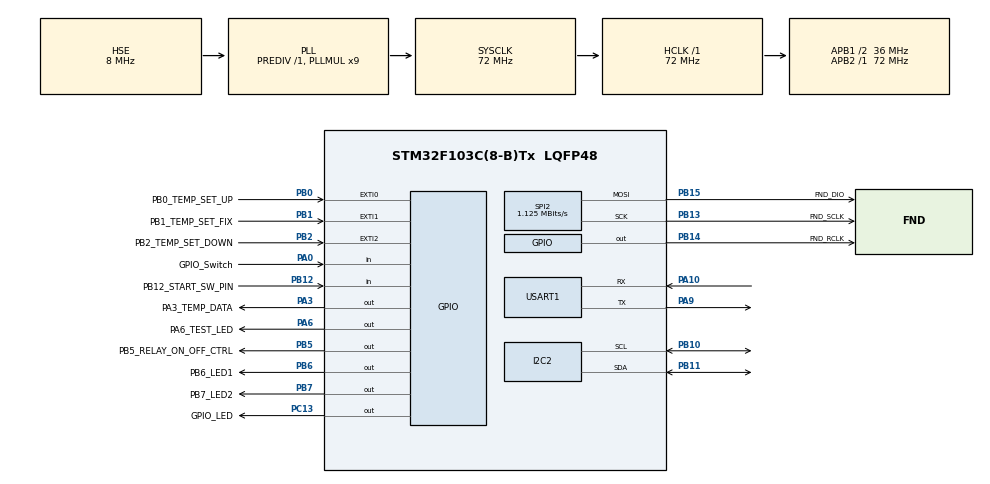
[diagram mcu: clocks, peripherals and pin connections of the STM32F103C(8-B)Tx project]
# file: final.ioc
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I2C2.I2C_Mode=I2C_Fast
Mcu.Family=STM32F1
Mcu.Name=STM32F103C(8-B)Tx
Mcu.Package=LQFP48
NVIC.EXTI0_IRQn=true\:9\:0\:true\:false\:true\:true\:true\:true
NVIC.EXTI1_IRQn=true\:9\:0\:true\:false\:true\:true\:true\:true
NVIC.EXTI2_IRQn=true\:9\:0\:true\:false\:true\:true\:true\:true
NVIC.PriorityGroup=NVIC_PRIORITYGROUP_4
NVIC.TIM2_IRQn=true\:0\:0\:false\:false\:true\:true\:true\:true
NVIC.TIM3_IRQn=true\:11\:0\:true\:false\:true\:true\:true\:true
PA0-WKUP.GPIO_Label=GPIO_Switch
PA0-WKUP.GPIO_PuPd=GPIO_PULLUP
PA0-WKUP.Signal=GPIO_Input
PA10.Mode=Asynchronous
PA10.Signal=USART1_RX
PA13.Mode=Serial_Wire
PA13.Signal=SYS_JTMS-SWDIO
PA14.Mode=Serial_Wire
PA14.Signal=SYS_JTCK-SWCLK
PA3.GPIO_Label=PA3_TEMP_DATA
PA3.GPIO_PuPd=GPIO_PULLUP
PA3.GPIO_Speed=GPIO_SPEED_FREQ_HIGH
PA3.PinState=GPIO_PIN_SET
PA3.Signal=GPIO_Output
PA6.GPIO_Label=PA6_TEST_LED
PA6.GPIO_PuPd=GPIO_PULLUP
PA6.GPIO_Speed=GPIO_SPEED_FREQ_HIGH
PA6.PinState=GPIO_PIN_SET
PA6.Signal=GPIO_Output
PA9.Mode=Asynchronous
PA9.Signal=USART1_TX
PB0.GPIO_Label=PB0_TEMP_SET_UP
PB0.GPIO_ModeDefaultEXTI=GPIO_MODE_IT_FALLING
PB0.GPIO_PuPd=GPIO_PULLUP
PB0.Signal=GPXTI0
PB1.GPIO_Label=PB1_TEMP_SET_FIX
PB1.GPIO_ModeDefaultEXTI=GPIO_MODE_IT_FALLING
PB1.GPIO_PuPd=GPIO_PULLUP
PB1.Signal=GPXTI1
PB10.Mode=I2C
PB10.Signal=I2C2_SCL
PB11.Mode=I2C
PB11.Signal=I2C2_SDA
PB12.GPIO_Label=PB12_START_SW_PIN
PB12.GPIO_PuPd=GPIO_PULLUP
PB12.Signal=GPIO_Input
PB13.GPIO_Label=FND_SCLK
PB13.Mode=TX_Only_Simplex_Unidirect_Master
PB13.Signal=SPI2_SCK
PB14.GPIO_Label=FND_RCLK
PB14.GPIO_PuPd=GPIO_PULLUP
PB14.GPIO_Speed=GPIO_SPEED_FREQ_HIGH
PB14.PinState=GPIO_PIN_SET
PB14.Signal=GPIO_Output
PB15.GPIO_Label=FND_DIO
PB15.Mode=TX_Only_Simplex_Unidirect_Master
PB15.Signal=SPI2_MOSI
PB2.GPIO_Label=PB2_TEMP_SET_DOWN
PB2.GPIO_ModeDefaultEXTI=GPIO_MODE_IT_FALLING
PB2.GPIO_PuPd=GPIO_PULLUP
PB2.Signal=GPXTI2
PB5.GPIO_Label=PB5_RELAY_ON_OFF_CTRL
PB5.GPIO_PuPd=GPIO_PULLDOWN
PB5.GPIO_Speed=GPIO_SPEED_FREQ_HIGH
PB5.PinState=GPIO_PIN_RESET
PB5.Signal=GPIO_Output
PB6.GPIO_Label=PB6_LED1
PB6.GPIO_PuPd=GPIO_PULLUP
PB6.GPIO_Speed=GPIO_SPEED_FREQ_HIGH
PB6.PinState=GPIO_PIN_SET
PB6.Signal=GPIO_Output
PB7.GPIO_Label=PB7_LED2
PB7.GPIO_ModeDefaultOutputPP=GPIO_MODE_OUTPUT_PP
PB7.GPIO_PuPd=GPIO_PULLUP
PB7.GPIO_Speed=GPIO_SPEED_FREQ_HIGH
PB7.PinState=GPIO_PIN_SET
PB7.Signal=GPIO_Output
PC13-TAMPER-RTC.GPIO_Label=GPIO_LED
PC13-TAMPER-RTC.GPIO_PuPd=GPIO_PULLDOWN
PC13-TAMPER-RTC.GPIO_Speed=GPIO_SPEED_FREQ_HIGH
PC13-TAMPER-RTC.PinState=GPIO_PIN_SET
PC13-TAMPER-RTC.Signal=GPIO_Output
PC14-OSC32_IN.Mode=LSE-External-Oscillator
PC14-OSC32_IN.Signal=RCC_OSC32_IN
PC15-OSC32_OUT.Mode=LSE-External-Oscillator
PC15-OSC32_OUT.Signal=RCC_OSC32_OUT
PD0-OSC_IN.Mode=HSE-External-Oscillator
PD0-OSC_IN.Signal=RCC_OSC_IN
PD1-OSC_OUT.Mode=HSE-External-Oscillator
PD1-OSC_OUT.Signal=RCC_OSC_OUT
ProjectManager.HeapSize=0x200
ProjectManager.StackSize=0x400
ProjectManager.TargetToolchain=STM32CubeIDE
RCC.AHBFreq_Value=72000000
RCC.APB1CLKDivider=RCC_HCLK_DIV2
RCC.APB1Freq_Value=36000000
RCC.APB1TimFreq_Value=72000000
RCC.APB2Freq_Value=72000000
RCC.APB2TimFreq_Value=72000000
RCC.HCLKFreq_Value=72000000
RCC.PLLMUL=RCC_PLL_MUL9
RCC.PLLSourceVirtual=RCC_PLLSOURCE_HSE
RCC.SYSCLKFreq_VALUE=72000000
RCC.SYSCLKSource=RCC_SYSCLKSOURCE_PLLCLK
RCC.USBFreq_Value=72000000
SPI2.BaudRatePrescaler=SPI_BAUDRATEPRESCALER_32
SPI2.CLKPhase=SPI_PHASE_2EDGE
SPI2.CLKPolarity=SPI_POLARITY_HIGH
SPI2.CalculateBaudRate=1.125 MBits/s
SPI2.Direction=SPI_DIRECTION_2LINES
SPI2.Mode=SPI_MODE_MASTER
SPI2.VirtualType=VM_MASTER
TIM2.AutoReloadPreload=TIM_AUTORELOAD_PRELOAD_DISABLE
TIM2.Period=0xFFFF
TIM2.Prescaler=(72-1)
TIM3.AutoReloadPreload=TIM_AUTORELOAD_PRELOAD_DISABLE
TIM3.Period=49
TIM3.Prescaler=71
USART1.VirtualMode=VM_ASYNC
VP_TIM2_VS_ClockSourceINT.Mode=Internal
VP_TIM3_VS_ClockSourceINT.Mode=Internal
board=custom

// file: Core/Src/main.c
/* USER CODE BEGIN Header */
/**
  ******************************************************************************
  * @file           : main.c
  * @brief          : Main program body
  ******************************************************************************
  * @attention
  *
  * Copyright (c) 2024 STMicroelectronics.
  * All rights reserved.
  *
  * This software is licensed under terms that can be found in the LICENSE file
  * in the root directory of this software component.
  * If no LICENSE file comes with this software, it is provided AS-IS.
  *
  ******************************************************************************
  */
/* USER CODE END Header */
#include "main.h"

/* USER CODE BEGIN Includes */
#include <stdio.h>
#include "ds18b20.h"
#include "fnd_controller.h"
#include "heaterController.h"

/* OLED header files */
#include "fonts.h"
#include "ssd1306.h"
#include "test.h"
#include "bitmap.h"
#include "horse_anim.h"

#include "oledController.h"
#include "g_var.h"
#include "temperCounter.h"
#include "defines.h"
/* USER CODE END Includes */

/* USER CODE BEGIN PTD */
#include <stdio.h>
/* USER CODE END PTD */

I2C_HandleTypeDef hi2c2;

SPI_HandleTypeDef hspi2;

TIM_HandleTypeDef htim2;
TIM_HandleTypeDef htim3;

UART_HandleTypeDef huart1;

/* USER CODE BEGIN PV */
//static uint32_t m_button_before_time = 0;
//static int m_desired_temper;
//static int m_fixed_temper;
/* USER CODE END PV */

void SystemClock_Config(void);
static void MX_GPIO_Init(void);
static void MX_TIM2_Init(void);
static void MX_USART1_UART_Init(void);
static void MX_TIM3_Init(void);
static void MX_I2C2_Init(void);
static void MX_SPI2_Init(void);

/* USER CODE BEGIN 0 */
int _write(int file, char * p, int len) {
	HAL_UART_Transmit(&huart1, (uint8_t*)p, len, 10);
	return len;
}
/* USER CODE END 0 */

int main(void)
{
  /* USER CODE BEGIN 1 */
	float temper = 0.0;
  /* USER CODE END 1 */

  /* MCU Configuration--------------------------------------------------------*/

  /* Reset of all peripherals, Initializes the Flash interface and the Systick. */
  HAL_Init();

  /* Configure the system clock */
  SystemClock_Config();

  /* Initialize all configured peripherals */
  MX_GPIO_Init();
  MX_TIM2_Init();
  MX_USART1_UART_Init();
  MX_TIM3_Init();
  MX_I2C2_Init();
  MX_SPI2_Init();
  /* USER CODE BEGIN 2 */

  /* OLED Start */
  SSD1306_Init();
  opening();

  /* Timer Interrupt (Temperature) */
  HAL_TIM_Base_Start_IT(&htim3);

  /* FND Start */
  init_fnd(&hspi2);

  /* Temperature Sensor Start */
  Ds18b20_Init_Simple();

  /* USER CODE END 2 */

  /* Infinite loop */
  /* USER CODE BEGIN WHILE */
  static int m_count = 0;
  static int m_first = 0;
  while (1)
  {

		tempCount();

		/* Temperature */
		if ((m_count > 50) || !m_first) {
			if (!isConverting()) {
				StartConverting();
			}
			CheckConverting();

			if (!isConverting()) {
				temper = getTemper();
				if(getSwState() == ON_t){ /* heater On/Off */
					heaterControl(temper);
					setBackTemper();
				}else {
					if(getHeaterState() == ON_t){
						heaterOnOff(OFF_t);
					}
				}
				m_count = 0;
				m_first = 1;
			}
		}

		m_count++;
//		HAL_Delay(10);

	  /* PB0 interrupt Switch */
//	  if(g_f_sw_up){
//		  printf("push sw_up\r\n");
//		  g_f_sw_up = 0;
//	  }
//	  if(g_f_sw_fix){
//		  printf("push sw_fix\r\n");
//		  g_f_sw_fix = 0;
//	  }
//	  if(g_f_sw_down){
//		  printf("push sw_down\r\n");
//		  g_f_sw_down = 0;
//	  }
//	  if(g_f_sw_on){
//		  printf("push sw_on\r\n");
//		  g_f_sw_on = 0;
//	  }

	  /* PB0 Switch TEST */
//	  if(!HAL_GPIO_ReadPin(PB12_START_SW_PIN_GPIO_Port, PB12_START_SW_PIN_Pin)){
//		  printf("1\r\n");
//	  }else{
//		  printf("0\r\n");
//	  }
//	  HAL_Delay(1000);

	  /* UART */
//	  printf("hello! final!!\r\n");
//	  HAL_Delay(1000);

//	  HAL_I2C_Master_Transmit(hi2c, DevAddress, pData, Size, Timeout);

//	  /* Test SSD1306 */

//	  SSD1306_Clear();
//	  SSD1306_DrawBitmap(0,0,HSBLOGO1,128,64,1);
//	  SSD1306_UpdateScreen();
//	  HAL_Delay(500);
//
//	  SSD1306_Clear();
//	  SSD1306_DrawBitmap(0,0,HSBLOGO2,128,64,1);
//	  SSD1306_UpdateScreen();
//	  HAL_Delay(500);
//
//	  SSD1306_Clear();
//	  SSD1306_DrawBitmap(0,0,HSBLOGO3,128,64,1);
//	  SSD1306_UpdateScreen();
//	  HAL_Delay(500);
//
//	  SSD1306_Clear();
//	  SSD1306_DrawBitmap(0,0,HSBLOGO4,128,64,1);
//	  SSD1306_UpdateScreen();
//	  HAL_Delay(500);
//
//	  SSD1306_Clear();
//	  SSD1306_DrawBitmap(0,0,HSBLOGO5,128,64,1);
//	  SSD1306_UpdateScreen();
//	  HAL_Delay(500);

	  /* toggle heater */
//	  if(getCurrentTemper() > 50 && getHeaterState() == t_ON){
//		  heaterControll(t_OFF);
//	  }else if(getCurrentTemper() < 45 && getHeaterState() == t_OFF) {
//		  heaterControll(t_ON);
//	  }

	  /* Temperature */
//	  Ds18b20_ManualConvert();

	  /* FND -> Temper */
//	  digit4_temper((int)(ds18b20[0].Temperature * 10), 10000);
//	  send_port(0xF8, 0b0011);

	  /* FND Test */
//	  for(int i = 0; i<=9999; i++){
//	  		  digit4_temper(i, 450); //send counter 0-9999 with delay 50 cicles and hide zero
//	    }

	  /* Test 7 Segment */
//	  send_port(0b11111110, 0b0001);
//	  HAL_Delay(1000);
//
//	  send_port(0b11111101, 0b0001);
//	  HAL_Delay(1000);
//
//	  send_port(0b11111011, 0b0001);
//	  HAL_Delay(1000);
//
//	  send_port(0b11110111, 0b0001);
//	  HAL_Delay(1000);
//
//	  send_port(0b11101111, 0b0001);
//	  HAL_Delay(1000);
//
//	  send_port(0b11011111, 0b0001);
//	  HAL_Delay(1000);
//
//	  send_port(0b10111111, 0b0001);
//	  HAL_Delay(1000);
//
//	  send_port(0b01111111, 0b0001);
//	  HAL_Delay(1000);

//	  for(int i = 0; i<=99; i++){
//		  digit2(i, 0b0001, 50); //send counter 0-99 with delay 50 cicles int 1st and 2nd view ports
//	  }

//	  for(int i = 0; i<=9999; i++){
//		  digit4_replay(i, 50); //send counter 0-9999 with delay 50 cicles and hide zero
//  }

//	  for(int i = 0; i<=9999; i++){
//		  digit4showZero_replay(i, 50); //send counter 0-9999 with delay 50 cicles and hide zero
//  }

/*
	  send_port(0x89, 0b0001);
	  HAL_Delay(500);
	  send_port(0x86, 0b0001);
	  HAL_Delay(500);
	  send_port(0xC3, 0b0001);
	  HAL_Delay(500);
	  send_port(0xC3, 0b0001);
	  HAL_Delay(500);
	  send_port(0xC0, 0b0001);
	  HAL_Delay(500);
*/

    /* USER CODE END WHILE */

  }
}

void SystemClock_Config(void)
{
  RCC_OscInitTypeDef RCC_OscInitStruct = {0};
  RCC_ClkInitTypeDef RCC_ClkInitStruct = {0};

  /** Initializes the RCC Oscillators according to the specified parameters
  * in the RCC_OscInitTypeDef structure.
  */
  RCC_OscInitStruct.OscillatorType = RCC_OSCILLATORTYPE_HSE;
  RCC_OscInitStruct.HSEState = RCC_HSE_ON;
  RCC_OscInitStruct.HSEPredivValue = RCC_HSE_PREDIV_DIV1;
  RCC_OscInitStruct.HSIState = RCC_HSI_ON;
  RCC_OscInitStruct.PLL.PLLState = RCC_PLL_ON;
  RCC_OscInitStruct.PLL.PLLSource = RCC_PLLSOURCE_HSE;
  RCC_OscInitStruct.PLL.PLLMUL = RCC_PLL_MUL9;
  if (HAL_RCC_OscConfig(&RCC_OscInitStruct) != HAL_OK)
  {
    Error_Handler();
  }

  /** Initializes the CPU, AHB and APB buses clocks
  */
  RCC_ClkInitStruct.ClockType = RCC_CLOCKTYPE_HCLK|RCC_CLOCKTYPE_SYSCLK
                              |RCC_CLOCKTYPE_PCLK1|RCC_CLOCKTYPE_PCLK2;
  RCC_ClkInitStruct.SYSCLKSource = RCC_SYSCLKSOURCE_PLLCLK;
  RCC_ClkInitStruct.AHBCLKDivider = RCC_SYSCLK_DIV1;
  RCC_ClkInitStruct.APB1CLKDivider = RCC_HCLK_DIV2;
  RCC_ClkInitStruct.APB2CLKDivider = RCC_HCLK_DIV1;

  if (HAL_RCC_ClockConfig(&RCC_ClkInitStruct, FLASH_LATENCY_2) != HAL_OK)
  {
    Error_Handler();
  }
}

static void MX_I2C2_Init(void)
{

  hi2c2.Instance = I2C2;
  hi2c2.Init.ClockSpeed = 400000;
  hi2c2.Init.DutyCycle = I2C_DUTYCYCLE_2;
  hi2c2.Init.OwnAddress1 = 0;
  hi2c2.Init.AddressingMode = I2C_ADDRESSINGMODE_7BIT;
  hi2c2.Init.DualAddressMode = I2C_DUALADDRESS_DISABLE;
  hi2c2.Init.OwnAddress2 = 0;
  hi2c2.Init.GeneralCallMode = I2C_GENERALCALL_DISABLE;
  hi2c2.Init.NoStretchMode = I2C_NOSTRETCH_DISABLE;
  if (HAL_I2C_Init(&hi2c2) != HAL_OK)
  {
    Error_Handler();
  }

}

static void MX_SPI2_Init(void)
{

  /* SPI2 parameter configuration*/
  hspi2.Instance = SPI2;
  hspi2.Init.Mode = SPI_MODE_MASTER;
  hspi2.Init.Direction = SPI_DIRECTION_2LINES;
  hspi2.Init.DataSize = SPI_DATASIZE_8BIT;
  hspi2.Init.CLKPolarity = SPI_POLARITY_HIGH;
  hspi2.Init.CLKPhase = SPI_PHASE_2EDGE;
  hspi2.Init.NSS = SPI_NSS_SOFT;
  hspi2.Init.BaudRatePrescaler = SPI_BAUDRATEPRESCALER_32;
  hspi2.Init.FirstBit = SPI_FIRSTBIT_MSB;
  hspi2.Init.TIMode = SPI_TIMODE_DISABLE;
  hspi2.Init.CRCCalculation = SPI_CRCCALCULATION_DISABLE;
  hspi2.Init.CRCPolynomial = 10;
  if (HAL_SPI_Init(&hspi2) != HAL_OK)
  {
    Error_Handler();
  }

}

static void MX_TIM2_Init(void)
{

  TIM_ClockConfigTypeDef sClockSourceConfig = {0};
  TIM_MasterConfigTypeDef sMasterConfig = {0};

  htim2.Instance = TIM2;
  htim2.Init.Prescaler = (72-1);
  htim2.Init.CounterMode = TIM_COUNTERMODE_UP;
  htim2.Init.Period = 0xFFFF;
  htim2.Init.ClockDivision = TIM_CLOCKDIVISION_DIV1;
  htim2.Init.AutoReloadPreload = TIM_AUTORELOAD_PRELOAD_DISABLE;
  if (HAL_TIM_Base_Init(&htim2) != HAL_OK)
  {
    Error_Handler();
  }
  sClockSourceConfig.ClockSource = TIM_CLOCKSOURCE_INTERNAL;
  if (HAL_TIM_ConfigClockSource(&htim2, &sClockSourceConfig) != HAL_OK)
  {
    Error_Handler();
  }
  sMasterConfig.MasterOutputTrigger = TIM_TRGO_RESET;
  sMasterConfig.MasterSlaveMode = TIM_MASTERSLAVEMODE_DISABLE;
  if (HAL_TIMEx_MasterConfigSynchronization(&htim2, &sMasterConfig) != HAL_OK)
  {
    Error_Handler();
  }

}

static void MX_TIM3_Init(void)
{

  TIM_ClockConfigTypeDef sClockSourceConfig = {0};
  TIM_MasterConfigTypeDef sMasterConfig = {0};

  htim3.Instance = TIM3;
  htim3.Init.Prescaler = 71;
  htim3.Init.CounterMode = TIM_COUNTERMODE_UP;
  htim3.Init.Period = 49;
  htim3.Init.ClockDivision = TIM_CLOCKDIVISION_DIV1;
  htim3.Init.AutoReloadPreload = TIM_AUTORELOAD_PRELOAD_DISABLE;
  if (HAL_TIM_Base_Init(&htim3) != HAL_OK)
  {
    Error_Handler();
  }
  sClockSourceConfig.ClockSource = TIM_CLOCKSOURCE_INTERNAL;
  if (HAL_TIM_ConfigClockSource(&htim3, &sClockSourceConfig) != HAL_OK)
  {
    Error_Handler();
  }
  sMasterConfig.MasterOutputTrigger = TIM_TRGO_RESET;
  sMasterConfig.MasterSlaveMode = TIM_MASTERSLAVEMODE_DISABLE;
  if (HAL_TIMEx_MasterConfigSynchronization(&htim3, &sMasterConfig) != HAL_OK)
  {
    Error_Handler();
  }

}

static void MX_USART1_UART_Init(void)
{

  huart1.Instance = USART1;
  huart1.Init.BaudRate = 115200;
  huart1.Init.WordLength = UART_WORDLENGTH_8B;
  huart1.Init.StopBits = UART_STOPBITS_1;
  huart1.Init.Parity = UART_PARITY_NONE;
  huart1.Init.Mode = UART_MODE_TX_RX;
  huart1.Init.HwFlowCtl = UART_HWCONTROL_NONE;
  huart1.Init.OverSampling = UART_OVERSAMPLING_16;
  if (HAL_UART_Init(&huart1) != HAL_OK)
  {
    Error_Handler();
  }

}

static void MX_GPIO_Init(void)
{
  GPIO_InitTypeDef GPIO_InitStruct = {0};

  /* GPIO Ports Clock Enable */
  __HAL_RCC_GPIOC_CLK_ENABLE();
  __HAL_RCC_GPIOD_CLK_ENABLE();
  __HAL_RCC_GPIOA_CLK_ENABLE();
  __HAL_RCC_GPIOB_CLK_ENABLE();

  /*Configure GPIO pin Output Level */
  HAL_GPIO_WritePin(GPIO_LED_GPIO_Port, GPIO_LED_Pin, GPIO_PIN_SET);

  /*Configure GPIO pin Output Level */
  HAL_GPIO_WritePin(GPIOA, PA3_TEMP_DATA_Pin|PA6_TEST_LED_Pin, GPIO_PIN_SET);

  /*Configure GPIO pin Output Level */
  HAL_GPIO_WritePin(GPIOB, FND_RCLK_Pin|PB6_LED1_Pin|PB7_LED2_Pin, GPIO_PIN_SET);

  /*Configure GPIO pin Output Level */
  HAL_GPIO_WritePin(PB5_RELAY_ON_OFF_CTRL_GPIO_Port, PB5_RELAY_ON_OFF_CTRL_Pin, GPIO_PIN_RESET);

  /*Configure GPIO pin : GPIO_LED_Pin */
  GPIO_InitStruct.Pin = GPIO_LED_Pin;
  GPIO_InitStruct.Mode = GPIO_MODE_OUTPUT_PP;
  GPIO_InitStruct.Pull = GPIO_PULLDOWN;
  GPIO_InitStruct.Speed = GPIO_SPEED_FREQ_HIGH;
  HAL_GPIO_Init(GPIO_LED_GPIO_Port, &GPIO_InitStruct);

  /*Configure GPIO pin : GPIO_Switch_Pin */
  GPIO_InitStruct.Pin = GPIO_Switch_Pin;
  GPIO_InitStruct.Mode = GPIO_MODE_INPUT;
  GPIO_InitStruct.Pull = GPIO_PULLUP;
  HAL_GPIO_Init(GPIO_Switch_GPIO_Port, &GPIO_InitStruct);

  /*Configure GPIO pins : PA3_TEMP_DATA_Pin PA6_TEST_LED_Pin */
  GPIO_InitStruct.Pin = PA3_TEMP_DATA_Pin|PA6_TEST_LED_Pin;
  GPIO_InitStruct.Mode = GPIO_MODE_OUTPUT_PP;
  GPIO_InitStruct.Pull = GPIO_PULLUP;
  GPIO_InitStruct.Speed = GPIO_SPEED_FREQ_HIGH;
  HAL_GPIO_Init(GPIOA, &GPIO_InitStruct);

  /*Configure GPIO pins : PB0_TEMP_SET_UP_Pin PB1_TEMP_SET_FIX_Pin PB2_TEMP_SET_DOWN_Pin */
  GPIO_InitStruct.Pin = PB0_TEMP_SET_UP_Pin|PB1_TEMP_SET_FIX_Pin|PB2_TEMP_SET_DOWN_Pin;
  GPIO_InitStruct.Mode = GPIO_MODE_IT_FALLING;
  GPIO_InitStruct.Pull = GPIO_PULLUP;
  HAL_GPIO_Init(GPIOB, &GPIO_InitStruct);

  /*Configure GPIO pin : PB12_START_SW_PIN_Pin */
  GPIO_InitStruct.Pin = PB12_START_SW_PIN_Pin;
  GPIO_InitStruct.Mode = GPIO_MODE_INPUT;
  GPIO_InitStruct.Pull = GPIO_PULLUP;
  HAL_GPIO_Init(PB12_START_SW_PIN_GPIO_Port, &GPIO_InitStruct);

  /*Configure GPIO pins : FND_RCLK_Pin PB6_LED1_Pin PB7_LED2_Pin */
  GPIO_InitStruct.Pin = FND_RCLK_Pin|PB6_LED1_Pin|PB7_LED2_Pin;
  GPIO_InitStruct.Mode = GPIO_MODE_OUTPUT_PP;
  GPIO_InitStruct.Pull = GPIO_PULLUP;
  GPIO_InitStruct.Speed = GPIO_SPEED_FREQ_HIGH;
  HAL_GPIO_Init(GPIOB, &GPIO_InitStruct);

  /*Configure GPIO pin : PB5_RELAY_ON_OFF_CTRL_Pin */
  GPIO_InitStruct.Pin = PB5_RELAY_ON_OFF_CTRL_Pin;
  GPIO_InitStruct.Mode = GPIO_MODE_OUTPUT_PP;
  GPIO_InitStruct.Pull = GPIO_PULLDOWN;
  GPIO_InitStruct.Speed = GPIO_SPEED_FREQ_HIGH;
  HAL_GPIO_Init(PB5_RELAY_ON_OFF_CTRL_GPIO_Port, &GPIO_InitStruct);

  /* EXTI interrupt init*/
  HAL_NVIC_SetPriority(EXTI0_IRQn, 9, 0);
  HAL_NVIC_EnableIRQ(EXTI0_IRQn);

  HAL_NVIC_SetPriority(EXTI1_IRQn, 9, 0);
  HAL_NVIC_EnableIRQ(EXTI1_IRQn);

  HAL_NVIC_SetPriority(EXTI2_IRQn, 9, 0);
  HAL_NVIC_EnableIRQ(EXTI2_IRQn);

}

/* USER CODE BEGIN 4 */
//void HAL_GPIO_EXTI_Callback(uint16_t GPIO_Pin){
//	if(GPIO_Pin == PB0_TEMP_SET_UP_Pin){
//		HAL_GPIO_TogglePin(PA6_TEST_LED_GPIO_Port, PA6_TEST_LED_Pin);
//	}
//	if(GPIO_Pin == PB0_TEMP_SET_UP_Pin){
//		tempCount();
//		if ((HAL_GetTick() - m_button_before_time) > BUTTON_GAP) {
//			g_f_sw_up = 1;
//		}
//
//		m_button_before_time = HAL_GetTick();
//
//		if (g_f_sw_up) {
//			printf("push sw_up\r\n");
//			g_f_sw_up = 0;
//			//count++;
//			temper_up();
//		}
//	}
//
//	if (GPIO_Pin == PB1_TEMP_SET_FIX_Pin) {
//		tempCount();
//		if ((HAL_GetTick() - m_button_before_time) > BUTTON_GAP) {
//			g_f_sw_fix = 1;
//		}
//
//		m_button_before_time = HAL_GetTick();
//
//		if (g_f_sw_fix) {
//			printf("push sw_fix\r\n");
//			g_f_sw_fix = 0;
//			setTemp();
//			setFixedTemper();
//		}
//	}
//
//	if (GPIO_Pin == PB2_TEMP_SET_DOWN_Pin) {
//		tempCount();
//		if ((HAL_GetTick() - m_button_before_time) > BUTTON_GAP) {
//			g_f_sw_down = 1;
//		}
//
//		m_button_before_time = HAL_GetTick();
//
//		if (g_f_sw_down) {
//			printf("push sw_up\r\n");
//			g_f_sw_down = 0;
//			//count++;
//			temper_down();
//		}
//
//	}
//}
/* USER CODE END 4 */

void Error_Handler(void)
{
  __disable_irq();
  while (1)
  {
  }
}
